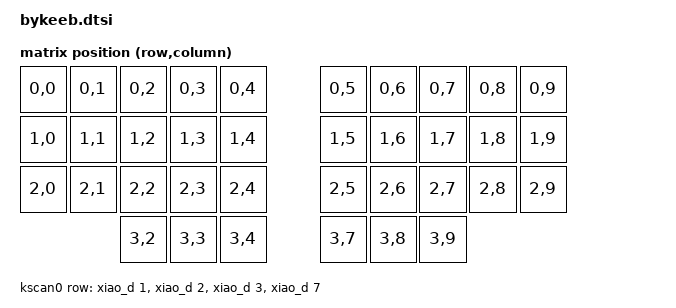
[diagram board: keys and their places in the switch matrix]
/*
 * Copyright (c) 2024 Sadek Baroudi
 *
 * SPDX-License-Identifier: MIT
 */

 #include <dt-bindings/zmk/matrix_transform.h>

 / {
    chosen {
        zmk,physical-layout = &default_layout;
        // for logging, if needed
        zephyr,console = &cdc_acm_uart;
    };

    default_transform: keymap_transform_0 {
        compatible = "zmk,matrix-transform";

        columns = <10>;
        rows = <4>;

        map = <
            RC(0,0) RC(0,1) RC(0,2) RC(0,3) RC(0,4)  RC(0,5) RC(0,6) RC(0,7) RC(0,8) RC(0,9)
            RC(1,0) RC(1,1) RC(1,2) RC(1,3) RC(1,4)  RC(1,5) RC(1,6) RC(1,7) RC(1,8) RC(1,9)
            RC(2,0) RC(2,1) RC(2,2) RC(2,3) RC(2,4)  RC(2,5) RC(2,6) RC(2,7) RC(2,8) RC(2,9)
                            RC(3,2) RC(3,3) RC(3,4)  RC(3,7) RC(3,8) RC(3,9)
        >;
    };

     kscan0: kscan {
        compatible = "zmk,kscan-gpio-matrix";
        diode-direction = "col2row";
        wakeup-source;

        row-gpios
            = <&xiao_d 1 (GPIO_ACTIVE_HIGH | GPIO_PULL_DOWN)>
            , <&xiao_d 2 (GPIO_ACTIVE_HIGH | GPIO_PULL_DOWN)>
            , <&xiao_d 3 (GPIO_ACTIVE_HIGH | GPIO_PULL_DOWN)>
            , <&xiao_d 7 (GPIO_ACTIVE_HIGH | GPIO_PULL_DOWN)>
            ;

    };

    default_layout: default_layout {
		compatible = "zmk,physical-layout";
		display-name = "Default";

		transform = <&default_transform>;
		kscan = <&kscan0>;
        keys
			= <&key_physical_attrs 100 100 000  0 0 0 0>
			, <&key_physical_attrs 100 100 100  0 0 0 0>
			, <&key_physical_attrs 100 100 200  0 0 0 0>
			, <&key_physical_attrs 100 100 300  0 0 0 0>
			, <&key_physical_attrs 100 100 400  0 0 0 0>
			, <&key_physical_attrs 100 100 600  0 0 0 0>
			, <&key_physical_attrs 100 100 700  0 0 0 0>
			, <&key_physical_attrs 100 100 800  0 0 0 0>
			, <&key_physical_attrs 100 100 900  0 0 0 0>
			, <&key_physical_attrs 100 100 1000  0 0 0 0>
            , <&key_physical_attrs 100 100 000  100 0 0 0>
			, <&key_physical_attrs 100 100 100  100 0 0 0>
			, <&key_physical_attrs 100 100 200  100 0 0 0>
			, <&key_physical_attrs 100 100 300  100 0 0 0>
			, <&key_physical_attrs 100 100 400  100 0 0 0>
			, <&key_physical_attrs 100 100 600  100 0 0 0>
			, <&key_physical_attrs 100 100 700  100 0 0 0>
			, <&key_physical_attrs 100 100 800  100 0 0 0>
			, <&key_physical_attrs 100 100 900  100 0 0 0>
			, <&key_physical_attrs 100 100 1000 100 0 0 0>
			, <&key_physical_attrs 100 100 000  200 0 0 0>
			, <&key_physical_attrs 100 100 100  200 0 0 0>
			, <&key_physical_attrs 100 100 200  200 0 0 0>
			, <&key_physical_attrs 100 100 300  200 0 0 0>
			, <&key_physical_attrs 100 100 400  200 0 0 0>
			, <&key_physical_attrs 100 100 600  200 0 0 0>
			, <&key_physical_attrs 100 100 700  200 0 0 0>
			, <&key_physical_attrs 100 100 800  200 0 0 0>
			, <&key_physical_attrs 100 100 900  200 0 0 0>
			, <&key_physical_attrs 100 100 1000 200 0 0 0>
			, <&key_physical_attrs 100 100 200  300 0 0 0>
			, <&key_physical_attrs 100 100 300  300 0 0 0>
			, <&key_physical_attrs 100 100 400  300 0 0 0>
			, <&key_physical_attrs 100 100 600  300 0 0 0>
			, <&key_physical_attrs 100 100 700  300 0 0 0>
			, <&key_physical_attrs 100 100 800  300 0 0 0>
			;
	};
 };

 // for logging, if needed
&usbd {
    status = "okay";
    cdc_acm_uart: cdc_acm_uart {
        compatible = "zephyr,cdc-acm-uart";
    };
};
